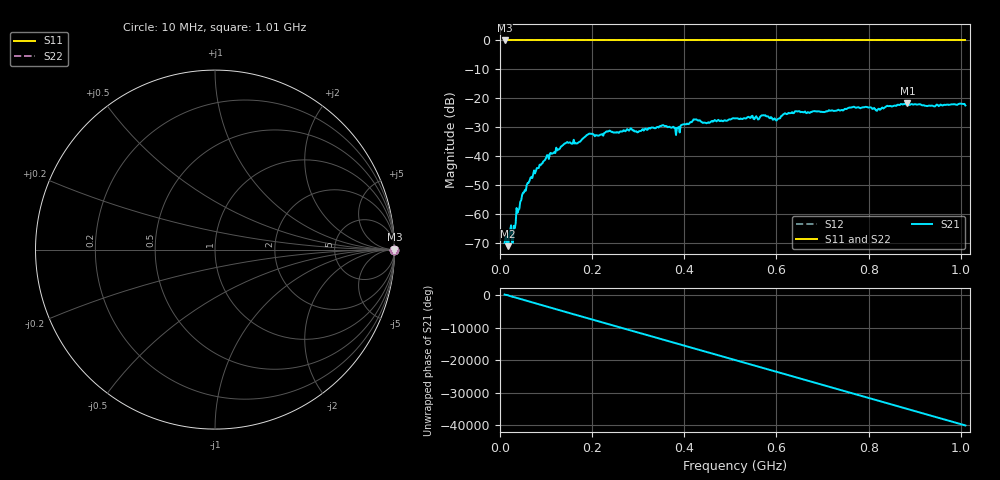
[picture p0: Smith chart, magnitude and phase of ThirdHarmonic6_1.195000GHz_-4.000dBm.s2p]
! 8/16/2025 12:19:03 PM
! C:\ANRITSUVNA\TEMP\TEMP.S2P
! CHANNEL.1
! TR.MEASUREMENT
! RAW.DATA
! RF.CORRECTION.OFF
! AVERAGING.OFF
! IF.BANDWIDTH: 5KHZ
! SWEEPTYPE:  FREQ.SWEEP(Linear)
! Reference Plane Port Info
! PORT:  PORT1  PORT2
! DISTANCE:  0  m  0  m
! TIME:  0  s  0  s
! PHASE.OFFSET:  0  deg.  0  deg.
! LOSS:  0  dB  0  dB
! REF.LOSS:  0  dB  0  dB
! REF.FREQ:  0  Hz  0  Hz
! Power Info
! POWER:  -20  dBm  -20  dBm
! EFF.POWER:  -20  dBm  -20  dBm
! SOURCE.ATTEN:  0  dB  0  dB
! TEST.ATTEN:  0  dB  0  dB
# GHZ S RI R 50.0
! FREQ.GHZ  S11RE  S11IM  S21RE  S21IM  S12RE  S12IM  S22RE  S22IM
!; PortSelection: Port_12
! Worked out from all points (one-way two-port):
!   501 points, 10 MHz to 1.01 GHz, reference 50 ohm
!   highest |S21| = -21.66 dB at 884 MHz (marker M1); lowest = -71.1 dB at 18 MHz (marker M2)
!   lowest |S11| = 0.0 dB at 10 MHz (marker M3)
!   |S11| at or under -10 dB: nowhere
!   |S22| runs from 0.0 to 0.0 dB; largest |S21 - S12| = 1.1
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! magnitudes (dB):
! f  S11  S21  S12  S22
! 10 MHz  0.0  -69.9  0.0  0.0
! 18 MHz  0.0  -71.1  0.0  0.0
! 30 MHz  0.0  -64.0  0.0  0.0
! 34 MHz  0.0  -63.2  0.0  0.0
! 48 MHz  0.0  -53.4  0.0  0.0
! 76 MHz  0.0  -45.9  0.0  0.0
! 100 MHz  0.0  -40.5  0.0  0.0
! 142 MHz  0.0  -35.5  0.0  0.0
! 178 MHz  0.0  -34.2  0.0  0.0
! 196 MHz  0.0  -32.2  0.0  0.0
! 344 MHz  0.0  -30.1  0.0  0.0
! 386 MHz  0.0  -30.1  0.0  0.0
! 422 MHz  0.0  -27.3  0.0  0.0
! 450 MHz  0.0  -28.5  0.0  0.0
! 510 MHz  0.0  -26.9  0.0  0.0
! 572 MHz  0.0  -25.8  0.0  0.0
! 602 MHz  0.0  -27.3  0.0  0.0
! 644 MHz  0.0  -24.5  0.0  0.0
! 678 MHz  0.0  -24.5  0.0  0.0
! 844 MHz  0.0  -22.7  0.0  0.0
! 884 MHz  0.0  -21.7  0.0  0.0
! 1.01 GHz  0.0  -22.4  0.0  0.0
